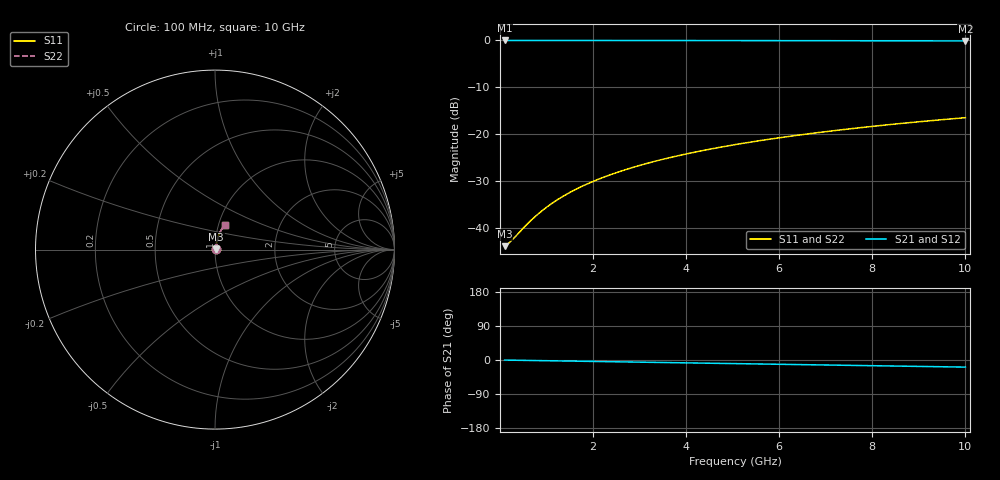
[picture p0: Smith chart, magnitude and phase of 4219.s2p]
# Hz S RI R 50.00
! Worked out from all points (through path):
!   100 points, 100 MHz to 10 GHz, reference 50 ohm
!   highest |S21| = -0.05 dB at 100 MHz (marker M1); lowest = -0.2 dB at 10 GHz (marker M2)
!   group delay of S21, straight-line fit = 5.22 ps
!   lowest |S11| = -43.9 dB at 100 MHz (marker M3), VSWR 1.01, Z = 50.6 + j0.153 ohm
!   |S11| at or under -10 dB: start of sweep to end of sweep
!   |S22| runs from -43.9 to -16.5 dB; largest |S21 - S12| = 0
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1e8  0.00621 0.00151  0.9938 -0.00328  0.9938 -0.00328  0.00621 0.00151
2e8  0.00626 0.00302  0.9937 -0.00655  0.9937 -0.00655  0.00626 0.00302
3e8  0.00632 0.00453  0.9937 -0.00983  0.9937 -0.00983  0.00632 0.00453
6e8  0.00651 0.00906  0.9934 -0.0197  0.9934 -0.0197  0.00651 0.00906
7e8  0.00659 0.0106  0.9933 -0.0229  0.9933 -0.0229  0.00659 0.0106
8e8  0.00668 0.0121  0.9932 -0.0262  0.9932 -0.0262  0.00668 0.0121
1e9  0.00689 0.0151  0.9929 -0.0327  0.9929 -0.0327  0.00689 0.0151
1.2e9  0.00713 0.0181  0.9926 -0.0393  0.9926 -0.0393  0.00713 0.0181
1.4e9  0.00741 0.0211  0.9923 -0.0458  0.9923 -0.0458  0.00741 0.0211
1.6e9  0.00773 0.0241  0.9918 -0.0524  0.9918 -0.0524  0.00773 0.0241
1.8e9  0.00808 0.0271  0.9914 -0.0589  0.9914 -0.0589  0.00808 0.0271
2.1e9  0.00869 0.0316  0.9906 -0.0687  0.9906 -0.0687  0.00869 0.0316
2.5e9  0.00963 0.0376  0.9893 -0.0817  0.9893 -0.0817  0.00963 0.0376
2.9e9  0.0107 0.0435  0.9879 -0.0947  0.9879 -0.0947  0.0107 0.0435
3.4e9  0.0123 0.0508  0.9858 -0.1109  0.9858 -0.1109  0.0123 0.0508
4.2e9  0.0153 0.0625  0.9818 -0.1367  0.9818 -0.1367  0.0153 0.0625
5.1e9  0.0195 0.0754  0.9764 -0.1654  0.9764 -0.1654  0.0195 0.0754
5.9e9  0.0238 0.0866  0.9707 -0.1908  0.9707 -0.1908  0.0238 0.0866
6.7e9  0.0286 0.0975  0.9642 -0.2158  0.9642 -0.2158  0.0286 0.0975
7.5e9  0.0341 0.1081  0.957 -0.2406  0.957 -0.2406  0.0341 0.1081
8.4e9  0.0408 0.1197  0.948 -0.2681  0.948 -0.2681  0.0408 0.1197
1e10  0.0544 0.1392  0.9297 -0.3159  0.9297 -0.3159  0.0544 0.1392
